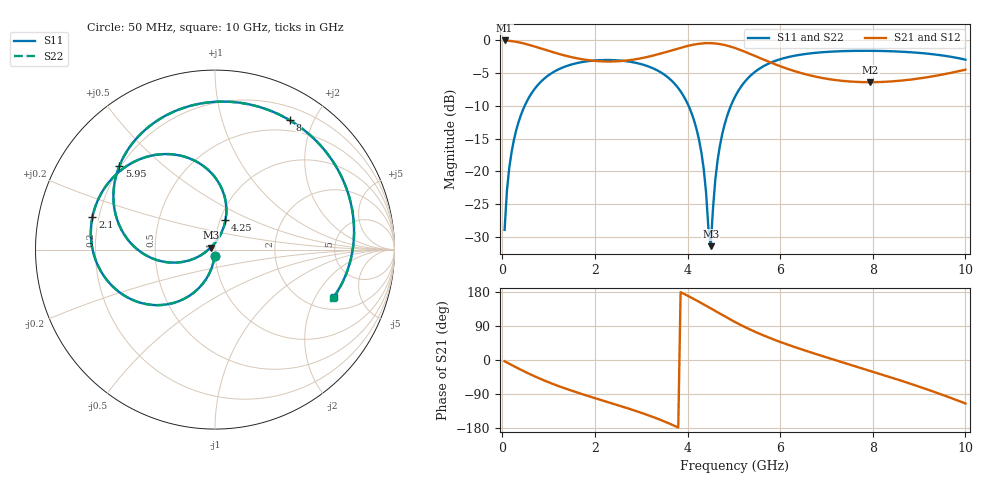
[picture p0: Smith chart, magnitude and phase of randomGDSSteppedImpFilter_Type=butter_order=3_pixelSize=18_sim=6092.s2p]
! freq	dB(S11)	phase(S11)	dB(S12)	phase(S12)
!  dB(S21)	phase(S21)	dB(S22)	phase(S22)
!S-par simulation data
#  GHz  S  DB  R 50
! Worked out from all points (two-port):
!   200 points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, 50 MHz to 10 GHz, reference 50 ohm
!   highest |S21| = -0.01 dB at 50 MHz (marker M1); lowest = -6.4 dB at 7.95 GHz (marker M2)
!   |S21| within 3 dB of the highest: start of sweep to 1.847 GHz; 2.759 GHz to 5.668 GHz (2.909 GHz wide, 69 % of centre)
!   lowest |S11| = -31.4 dB at 4.5 GHz (marker M3), VSWR 1.06, Z = 47.6 + j1.11 ohm
!   |S11| at or under -10 dB: start of sweep to 483.8 MHz; 4.022 GHz to 4.935 GHz (912.4 MHz wide, 20.4 % of centre)
!   |S22| runs from -31.6 to -1.6 dB; largest |S21 - S12| = 0
!   S11 on the Smith chart (normalised r, x): 50 MHz: 0.99, -0.07; 2.1 GHz: 0.17, +0.13; 4.25 GHz: 1.06, +0.36; 5.95 GHz: 0.19, +0.36; 8 GHz: 0.36, +1.68; 10 GHz: 2.68, -2.87
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0.05  -28.94 -93.5  -0.01 -3.3  -0.01 -3.3  -28.94 -93.5
0.1  -22.96 -97.0  -0.03 -6.6  -0.03 -6.6  -22.96 -97.0
0.2  -17.08 -103.7  -0.11 -13.1  -0.11 -13.1  -17.08 -103.7
0.5  -9.74 -122.3  -0.53 -31.7  -0.53 -31.7  -9.74 -122.3
1  -5.32 -149.2  -1.60 -58.8  -1.60 -58.8  -5.32 -149.2
1.75  -3.28 178.5  -2.91 -91.0  -2.91 -91.0  -3.28 178.5
2.1  -3.02 165.2  -3.18 -104.4  -3.18 -104.4  -3.02 165.2
3.4  -4.78 113.3  -2.05 -157.2  -2.05 -157.2  -4.78 113.2
3.9  -8.33 87.9  -1.03 175.9  -1.03 175.9  -8.33 87.8
4.25  -15.24 70.3  -0.51 153.5  -0.51 153.5  -15.24 70.1
4.35  -19.67 69.0  -0.44 146.7  -0.44 146.7  -19.68 68.7
4.5  -31.43 154.4  -0.42 136.2  -0.42 136.2  -31.57 154.6
4.6  -21.27 -158.0  -0.47 129.2  -0.47 129.2  -21.28 -157.7
4.7  -16.03 -157.4  -0.56 122.2  -0.56 122.2  -16.04 -157.3
5.05  -8.27 -175.3  -1.23 98.6  -1.23 98.6  -8.27 -175.3
5.95  -2.99 138.7  -3.81 50.0  -3.81 50.0  -2.99 138.6
6.7  -1.94 108.1  -5.43 18.6  -5.43 18.6  -1.94 108.0
7.95  -1.59 61.7  -6.38 -28.8  -6.38 -28.8  -1.59 61.6
8  -1.59 59.9  -6.38 -30.7  -6.38 -30.7  -1.59 59.7
8.35  -1.65 46.7  -6.29 -44.2  -6.29 -44.2  -1.65 46.5
9.2  -2.04 13.0  -5.60 -78.7  -5.60 -78.7  -2.04 12.7
10  -2.94 -21.7  -4.47 -114.7  -4.47 -114.7  -2.95 -22.2
